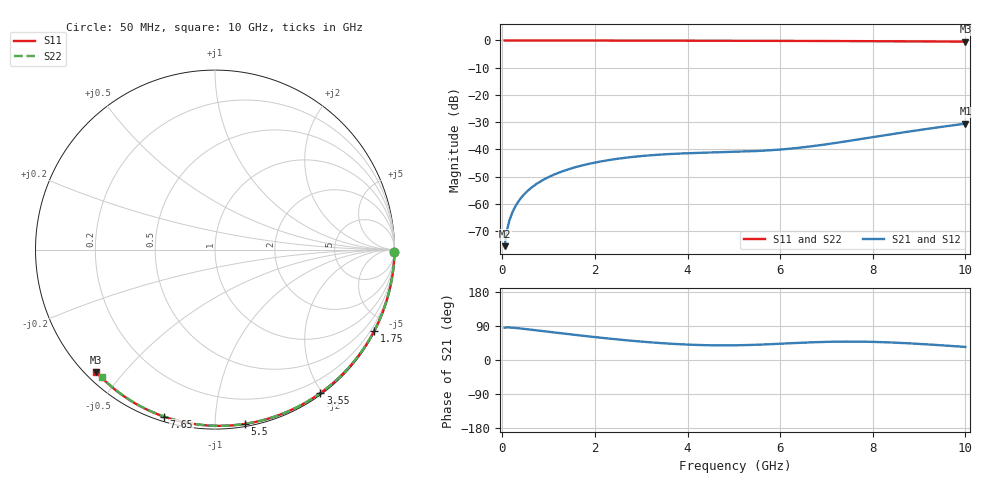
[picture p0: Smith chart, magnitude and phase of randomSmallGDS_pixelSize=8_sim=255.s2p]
! freq	dB(S11)	phase(S11)	dB(S12)	phase(S12)
!  dB(S21)	phase(S21)	dB(S22)	phase(S22)
!S-par simulation data
#  GHz  S  DB  R 50
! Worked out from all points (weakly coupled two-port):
!   200 points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, 50 MHz to 10 GHz, reference 50 ohm
!   highest |S21| = -30.55 dB at 10 GHz (marker M1); lowest = -75.5 dB at 50 MHz (marker M2)
!   lowest |S11| = -0.4 dB at 10 GHz (marker M3), VSWR 39.10, Z = 1.51 - j21.1 ohm
!   |S11| at or under -10 dB: nowhere
!   |S22| runs from -0.4 to 0.0 dB; largest |S21 - S12| = 0
!   S11 on the Smith chart (normalised r, x): 50 MHz: open; 1.75 GHz: 0.04, -4.14; 3.55 GHz: 0.02, -1.98; 5.5 GHz: 0.02, -1.19; 7.65 GHz: 0.02, -0.74; 10 GHz: 0.03, -0.42
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0.05  -0.00 -0.8  -75.52 85.3  -75.52 85.3  -0.00 -0.8
0.1  -0.00 -1.6  -69.78 85.8  -69.78 85.8  -0.00 -1.5
0.15  -0.00 -2.4  -66.34 85.8  -66.34 85.8  -0.00 -2.3
0.2  -0.00 -3.2  -63.87 85.5  -63.87 85.5  -0.00 -3.1
0.25  -0.00 -3.9  -61.95 85.0  -61.95 85.0  -0.00 -3.9
0.35  -0.00 -5.5  -59.06 83.8  -59.06 83.8  -0.00 -5.4
0.5  -0.01 -7.9  -56.00 81.7  -56.00 81.7  -0.01 -7.7
0.7  -0.01 -11.0  -53.13 78.9  -53.13 78.9  -0.01 -10.8
1  -0.02 -15.6  -50.16 74.5  -50.16 74.5  -0.02 -15.3
1.35  -0.03 -21.0  -47.74 69.4  -47.74 69.4  -0.03 -20.6
1.75  -0.03 -27.1  -45.77 63.8  -45.77 63.8  -0.03 -26.6
2.5  -0.05 -38.4  -43.41 54.1  -43.41 54.1  -0.05 -37.7
3.4  -0.07 -51.6  -41.91 44.8  -41.91 44.8  -0.07 -50.6
3.55  -0.07 -53.7  -41.76 43.6  -41.76 43.6  -0.07 -52.7
4.3  -0.09 -64.2  -41.24 39.4  -41.24 39.4  -0.09 -63.0
5.05  -0.11 -74.4  -40.89 38.8  -40.89 38.8  -0.11 -73.0
5.5  -0.13 -80.3  -40.59 40.3  -40.59 40.3  -0.13 -78.8
6.15  -0.16 -88.7  -39.83 43.8  -39.83 43.8  -0.15 -87.0
6.7  -0.18 -95.5  -38.81 46.7  -38.81 46.7  -0.18 -93.8
7.65  -0.24 -107.1  -36.44 48.5  -36.44 48.5  -0.23 -105.1
8.35  -0.29 -115.3  -34.56 46.4  -34.56 46.4  -0.28 -113.1
10  -0.44 -134.1  -30.55 34.5  -30.55 34.5  -0.44 -131.5
